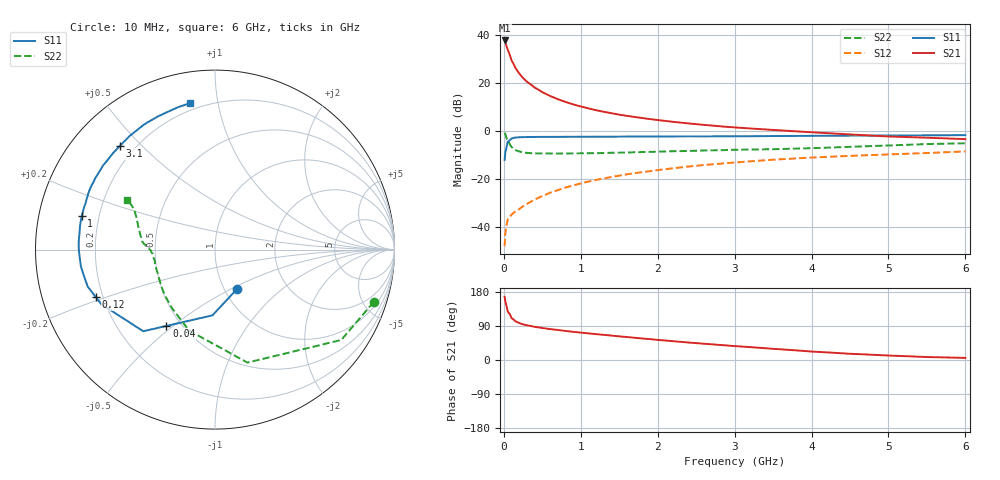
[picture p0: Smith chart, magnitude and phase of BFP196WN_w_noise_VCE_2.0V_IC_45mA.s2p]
! (c) 2017  Infineon Technologies AG, Munich
! Infineon Technologies  Discrete & RF Semiconductors
! BFP196WN
! VCE =  2.0 V,  IC =  45 mA
! Common Emitter S-Parameters:  Jan 2017
# GHz  S  MA  R  50
!  f  S11  S21  S12  S22
! GHz  MAG  ANG  MAG  ANG  MAG  ANG  MAG  ANG
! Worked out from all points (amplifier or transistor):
!   77 points, 10 MHz to 6 GHz, reference 50 ohm
!   highest |S21| = 37.8 dB at 10 MHz (marker M1)
!   |S21| within 3 dB of that: start of sweep to 41.24 MHz
!   unconditionally stable (mu >= 1): 620.2 MHz to 2.878 GHz
!   at 130 MHz: K = 0.54, MSG = 30.9 dB, |S12| = -34.0 dB
!   at 2.2 GHz: K = 1.02, MAG = 8.7 dB, |S12| = -15.5 dB
!   at 6 GHz: K = 0.93, MSG = 2.6 dB, |S12| = -8.4 dB
!   lowest NFmin = 1.22 dB at 450 MHz
!   S11 on the Smith chart (normalised r, x): 10 MHz: 1.15, -0.54; 40 MHz: 0.42, -0.47; 120 MHz: 0.17, -0.19; 1 GHz: 0.13, +0.12; 3.1 GHz: 0.14, +0.43; 6 GHz: 0.16, +0.83
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0.01  0.2509 -60.4  78.02 166.8  0.004 78.7  0.9311 -18.3
0.02  0.3666 -92.2  70.82 153.5  0.0076 69.9  0.865 -35.6
0.04  0.5044 -122.5  55.93 138.5  0.0119 52.7  0.6863 -58.9
0.05  0.6055 -131.3  50.53 128.1  0.0143 48.2  0.6549 -74.0
0.1  0.7031 -154.4  30.03 110.3  0.0182 46.7  0.4734 -107.8
0.12  0.715 -158.3  26.34 107.8  0.0194 46.4  0.44 -114.6
0.15  0.7387 -163.8  20.96 102.3  0.0212 46.0  0.4038 -126.6
0.2  0.7461 -169.4  15.94 97.5  0.0237 51.3  0.3779 -137.9
0.25  0.753 -173.0  12.85 94.1  0.0273 54.1  0.3627 -145.3
0.3  0.7543 -175.7  10.77 91.6  0.0304 56.3  0.3525 -151.1
0.4  0.7588 -179.9  8.137 87.5  0.0373 61.5  0.3453 -158.0
0.5  0.7606 177.1  6.517 84.4  0.0444 63.7  0.3442 -162.9
0.6  0.7602 174.4  5.445 81.6  0.052 64.8  0.3434 -166.3
0.8  0.7637 169.9  4.084 76.7  0.0664 67.5  0.3425 -170.6
1  0.7656 166.0  3.276 72.3  0.0812 67.4  0.3456 -173.8
1.1  0.7657 164.0  2.984 70.3  0.089 67.3  0.3467 -175.0
1.5  0.77 157.4  2.213 62.4  0.1182 65.7  0.3565 -178.9
2.1  0.7767 147.7  1.637 51.4  0.1613 61.8  0.3776 177.7
3.1  0.7839 132.6  1.169 35.4  0.2285 53.5  0.4119 172.5
4.1  0.8017 118.3  0.93 21.2  0.2865 44.8  0.4473 163.0
5.1  0.8135 107.5  0.767 11.0  0.332 37.1  0.5104 153.0
6  0.8273 99.8  0.683 5.5  0.3784 31.1  0.5596 150.7
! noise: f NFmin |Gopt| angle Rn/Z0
0.45  1.22  0.52  -178  0.05
0.9  1.34  0.55  -172  0.05
1.9  2.26  0.68  -148  0.14
2.4  2.99  0.69  -141  0.27
